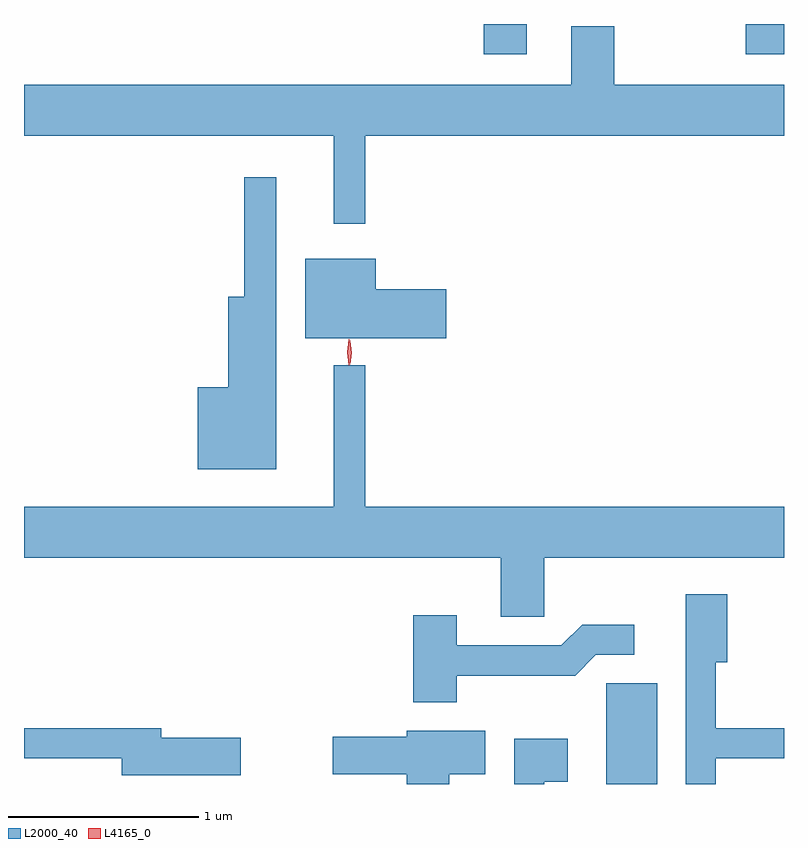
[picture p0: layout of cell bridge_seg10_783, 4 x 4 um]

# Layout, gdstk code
import gdstk
lib = gdstk.Library(unit=1e-6, precision=1e-09)
def R(c, l, rs):  # rectangles x0, y0, x1, y1
    for r in rs: c.add(gdstk.rectangle(r[:2], r[2:], *l))
def P(c, l, *ps):  # polygons
    for p in ps: c.add(gdstk.Polygon(p, *l))
L2000_40 = (2000, 40)
L4165_0 = (4165, 0)

bridge_seg10_783 = lib.new_cell('bridge_seg10_783')
R(bridge_seg10_783, L2000_40, [(612.236,2086.085,612.504,2086.614), (611.591,2089.926,611.819,2090.085), (612.971,2089.926,613.172,2090.085)])
P(bridge_seg10_783, L2000_40, [(610.969,2089.496),(613.172,2089.496),(613.172,2089.764),(612.279,2089.764),(612.279,2090.074),(612.051,2090.074),(612.051,2089.764),(609.172,2089.764),(609.172,2089.496),(610.801,2089.496),(610.801,2089.033),(610.969,2089.033)],
  [(610.499,2089.278),(610.331,2089.278),(610.331,2088.649),(610.246,2088.649),(610.246,2088.174),(610.086,2088.174),(610.086,2087.741),(610.499,2087.741)],
  [(611.394,2088.689),(611.024,2088.689),(611.024,2088.849),(610.651,2088.849),(610.651,2088.431),(611.394,2088.431)],
  [(611.909,2087.276),(613.172,2087.276),(613.172,2087.544),(610.969,2087.544),(610.969,2088.288),(610.801,2088.288),(610.801,2087.544),(609.172,2087.544),(609.172,2087.276),(611.681,2087.276),(611.681,2086.966),(611.909,2086.966)],
  [(612.814,2086.221),(613.172,2086.221),(613.172,2086.379),(612.814,2086.379),(612.814,2086.726),(612.874,2086.726),(612.874,2087.084),(612.656,2087.084),(612.656,2086.085),(612.814,2086.085)],
  [(611.449,2086.656),(612.072,2086.656),(612.182,2086.766),(612.383,2086.766),(612.383,2086.924),(612.109,2086.924),(611.999,2086.814),(611.449,2086.814),(611.449,2086.974),(611.221,2086.974),(611.221,2086.516),(611.449,2086.516)],
  [(610.314,2086.329),(609.894,2086.329),(609.894,2086.379),(609.172,2086.379),(609.172,2086.221),(609.686,2086.221),(609.686,2086.131),(610.314,2086.131)],
  [(611.409,2086.136),(611.599,2086.136),(611.599,2086.364),(611.186,2086.364),(611.186,2086.334),(610.796,2086.334),(610.796,2086.136),(611.186,2086.136),(611.186,2086.085),(611.409,2086.085)],
  [(611.909,2086.096),(612.034,2086.096),(612.034,2086.324),(611.751,2086.324),(611.751,2086.085),(611.909,2086.085)])
P(bridge_seg10_783, L4165_0, [(610.888,2088.293),(610.888,2088.294),(610.878,2088.356),(610.888,2088.419),(610.888,2088.42),(610.888,2088.419),(610.898,2088.356),(610.888,2088.294)],
  [(610.882,2088.29),(610.873,2088.358),(610.882,2088.425),(610.882,2088.426),(610.883,2088.425),(610.892,2088.358),(610.884,2088.29),(610.883,2088.29)])

lib.write_gds('bridge_seg10_783.gds')
